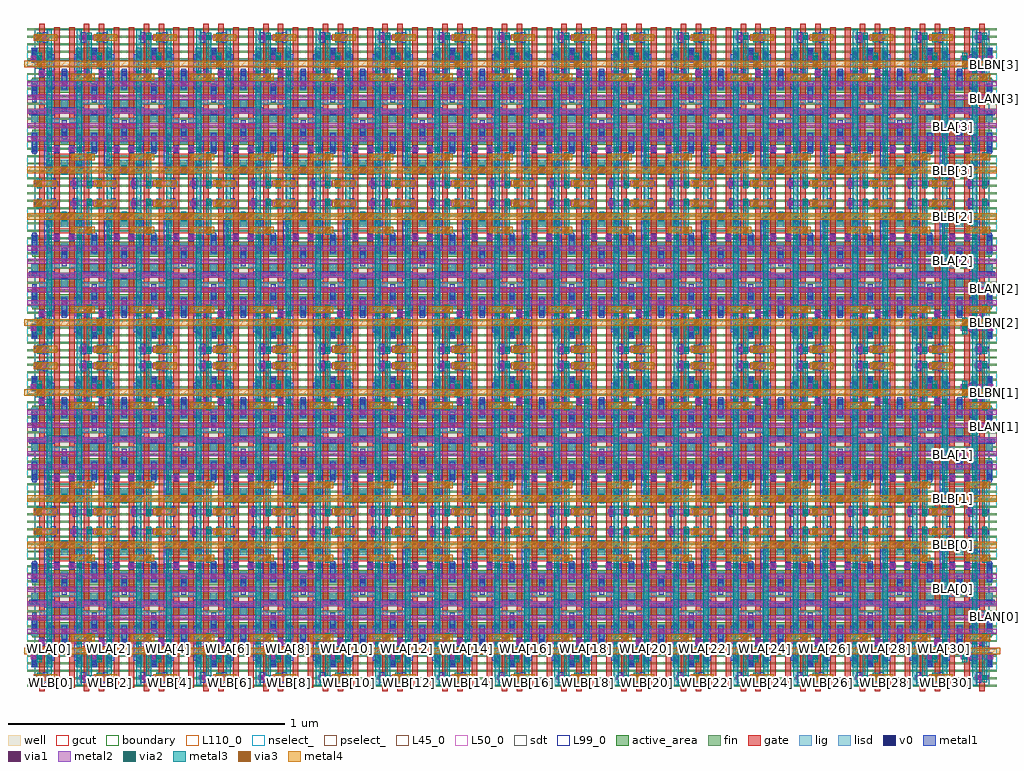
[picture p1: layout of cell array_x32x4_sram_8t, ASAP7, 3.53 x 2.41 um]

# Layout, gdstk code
from math import pi, radians
import gdstk
lib = gdstk.Library(unit=1e-6, precision=2.5e-10)
def R(c, l, rs):  # rectangles x0, y0, x1, y1
    for r in rs: c.add(gdstk.rectangle(r[:2], r[2:], *l))
def A(c, l, x, y, w, h, nx, ny, dx, dy):  # array of equal rectangles
    R(c, l, [(x+i*dx, y+j*dy, x+i*dx+w, y+j*dy+h) for i in range(nx) for j in range(ny)])
def P(c, l, *ps):  # polygons
    for p in ps: c.add(gdstk.Polygon(p, *l))
well = (1, 0)
fin = (2, 0)
gate = (7, 0)
gcut = (10, 0)
active_area = (11, 0)
nselect_ = (12, 0)
pselect_ = (13, 0)
lig = (16, 0)
lisd = (17, 0)
v0 = (18, 0)
metal1 = (19, 0)
metal2 = (20, 0)
via1 = (21, 0)
via2 = (25, 0)
metal3 = (30, 0)
via3 = (35, 0)
metal4 = (40, 0)
L45_0 = (45, 0)
L50_0 = (50, 0)
sdt = (88, 0)
L99_0 = (99, 0)
boundary = (100, 0)
L110_0 = (110, 0)

sram_cell_8t = lib.new_cell('sram_cell_8t')
R(sram_cell_8t, well, [(-0.027,0.081,0.135,0.189)])
A(sram_cell_8t, fin, -0.027, -0.1655, 0.162, 0.007, 1, 23, 0, 0.027)
R(sram_cell_8t, gate, [(0.017,-0.181,0.037,0.439), (0.071,-0.169,0.091,0.451)])
R(sram_cell_8t, gcut, [(0,-0.0355,0.054,-0.0185), (0.054,-0.0085,0.108,0.0085), (0,0.0715,0.054,0.0885), (0.054,0.1815,0.108,0.1985), (0,0.2615,0.054,0.2785), (0.054,0.2885,0.108,0.3055)])
R(sram_cell_8t, active_area, [(-0.008,-0.0945,0.062,-0.0405), (-0.008,0.0135,0.116,0.0675), (0.046,0.0945,0.116,0.1215), (-0.008,0.1485,0.062,0.1755), (-0.008,0.2025,0.116,0.2565), (0.046,0.3105,0.116,0.3645)])
R(sram_cell_8t, nselect_, [(-0.027,-0.108,0.135,-0.027), (-0.027,0,0.135,0.081), (-0.027,0.189,0.135,0.27), (-0.027,0.297,0.135,0.378)])
R(sram_cell_8t, pselect_, [(-0.027,0.081,0.135,0.189)])
R(sram_cell_8t, lig, [(0.017,-0.14,0.054,-0.124), (0.016,-0.0115,0.037,0.0045), (0.017,0.0935,0.054,0.1095), (0.054,0.1605,0.091,0.1765), (0.071,0.2655,0.092,0.2815), (0.054,0.388,0.086,0.404)])
R(sram_cell_8t, lisd, [(-0.012,-0.0945,0.012,-0.0405), (0.042,-0.0945,0.066,-0.0405), (0.096,-0.013,0.12,0.059), (-0.012,0.019,0.012,0.073), (0.042,0.0235,0.066,0.118), (0.096,0.0945,0.12,0.1385), (-0.012,0.1315,0.012,0.1755), (0.042,0.152,0.066,0.2465), (0.096,0.197,0.12,0.251), (-0.012,0.2105,0.012,0.283), (0.042,0.3105,0.066,0.3645), (0.096,0.3105,0.12,0.3645)])
R(sram_cell_8t, v0, [(0.0305,-0.141,0.0485,-0.123), (-0.009,-0.0885,0.009,-0.0705), (0.045,-0.0765,0.063,-0.0585), (0.018,-0.0125,0.036,0.0055), (0.099,-0.009,0.117,0.009), (-0.009,0.043,0.009,0.061), (0.045,0.043,0.063,0.061), (0.099,0.1205,0.117,0.1385), (-0.009,0.1315,0.009,0.1495), (0.099,0.209,0.117,0.227), (0.045,0.2195,0.063,0.2375), (-0.009,0.261,0.009,0.279), (0.072,0.2645,0.09,0.2825), (0.045,0.3285,0.063,0.3465), (0.099,0.339,0.117,0.357), (0.0595,0.387,0.0775,0.405)])
R(sram_cell_8t, metal1, [(0.0305,-0.151,0.0485,-0.113), (-0.009,-0.0935,0.009,-0.043), (0.099,-0.019,0.117,0.055), (0.018,-0.017,0.036,0.011), (-0.009,0.0345,0.009,0.1025), (0.099,0.1675,0.117,0.2355), (-0.009,0.215,0.009,0.289), (0.072,0.2585,0.09,0.2865), (0.099,0.334,0.117,0.362), (0.0595,0.377,0.0775,0.415)])
P(sram_cell_8t, metal1, [(0.127,0.1385),(0.0725,0.1385),(0.0725,0.1495),(-0.019,0.1495),(-0.019,0.1315),(0.0355,0.1315),(0.0355,0.1205),(0.127,0.1205)],
  [(0.045,-0.0815),(0.063,-0.0815),(0.063,-0.0715),(0.072,-0.0715),(0.072,0.056),(0.063,0.056),(0.063,0.066),(0.045,0.066),(0.045,0.038),(0.054,0.038),(0.054,-0.0535),(0.045,-0.0535)],
  [(0.045,0.2155),(0.063,0.2155),(0.063,0.2435),(0.054,0.2435),(0.054,0.3235),(0.063,0.3235),(0.063,0.3515),(0.045,0.3515),(0.045,0.3415),(0.036,0.3415),(0.036,0.2255),(0.045,0.2255)])
A(sram_cell_8t, metal2, -0.027, 0.027, 0.162, 0.018, 1, 3, 0, 0.099)
R(sram_cell_8t, metal2, [(0.004,-0.141,0.0535,-0.123), (-0.014,-0.066,0.032,-0.048), (0.016,-0.012,0.072,0.006), (-0.026,0.0745,0.136,0.0925), (-0.026,0.1775,0.136,0.1955), (0.04,0.2635,0.092,0.2815), (0.093,0.339,0.123,0.357), (0.004,0.387,0.0825,0.405)])
R(sram_cell_8t, via1, [(0.0305,-0.141,0.0485,-0.123), (-0.009,-0.066,0.009,-0.048), (0.018,-0.012,0.036,0.006), (0.099,0.027,0.117,0.045), (-0.009,0.0745,0.009,0.0925), (0.045,0.126,0.063,0.144), (0.099,0.1775,0.117,0.1955), (-0.009,0.225,0.009,0.243), (0.072,0.2635,0.09,0.2815), (0.099,0.339,0.117,0.357), (0.0595,0.387,0.0775,0.405)])
R(sram_cell_8t, via2, [(0.009,-0.141,0.027,-0.123), (0.009,-0.066,0.027,-0.048), (0.045,-0.012,0.063,0.006), (0.045,0.2635,0.063,0.2815), (0.099,0.339,0.117,0.357), (0.009,0.387,0.027,0.405)])
R(sram_cell_8t, metal3, [(0.045,-0.162,0.063,0.432), (0.009,-0.149,0.027,-0.115), (0.009,-0.077,0.027,-0.019), (0.099,0.331,0.117,0.365), (0.009,0.379,0.027,0.413)])
R(sram_cell_8t, via3, [(0.009,-0.144,0.027,-0.12), (0.009,-0.048,0.027,-0.024), (0.099,0.336,0.117,0.36), (0.009,0.384,0.027,0.408)])
R(sram_cell_8t, metal4, [(-0.002,-0.144,0.083,-0.12), (-0.038,-0.048,0.135,-0.024), (-0.027,0.336,0.135,0.36), (-0.002,0.384,0.083,0.408)])
R(sram_cell_8t, L45_0, [(0.048,-0.144,0.072,-0.12), (0.048,0.384,0.072,0.408)])
R(sram_cell_8t, L50_0, [(0.048,-0.162,0.072,0.432)])
R(sram_cell_8t, sdt, [(-0.012,-0.0945,0.012,-0.0405), (0.042,-0.0945,0.066,-0.0405), (0.096,0.005,0.12,0.059), (-0.012,0.019,0.012,0.073), (0.042,0.0235,0.066,0.0775), (0.042,0.091,0.066,0.118), (0.096,0.0945,0.12,0.1215), (-0.012,0.1485,0.012,0.1755), (0.042,0.152,0.066,0.179), (0.042,0.1925,0.066,0.2465), (0.096,0.197,0.12,0.251), (-0.012,0.2105,0.012,0.2645), (0.042,0.3105,0.066,0.3645), (0.096,0.3105,0.12,0.3645)])
R(sram_cell_8t, L99_0, [(0,-0.162,0.108,0.432)])
R(sram_cell_8t, boundary, [(0,-0.162,0.108,0.432)])
R(sram_cell_8t, L110_0, [(0,-0.162,0.108,0.432)])
sram_cell_8t.add(gdstk.Label('vss!', (0.081,0.235), layer=20, texttype=251))
sram_cell_8t.add(gdstk.Label('vss!', (0.074,0.036), layer=20, texttype=251))
sram_cell_8t.add(gdstk.Label('vdd!', (0.0795,0.1395), layer=20, texttype=251))
sram_cell_8t.add(gdstk.Label('BLA', (0.13,0.1885), layer=20, texttype=251))
sram_cell_8t.add(gdstk.Label('BLAN', (-0.018,0.088), layer=20, texttype=251))
sram_cell_8t.add(gdstk.Label('WLA', (0.054,-0.028), layer=30, texttype=251))
sram_cell_8t.add(gdstk.Label('vdd!', (0.048,0.148), layer=1, texttype=251))
sram_cell_8t.add(gdstk.Label('vss!', (0.048,0.2245), layer=3, texttype=251))
sram_cell_8t.add(gdstk.Label('vss!', (0.048,0.044), layer=3, texttype=251))
sram_cell_8t.add(gdstk.Label('BLBN', (-0.018,-0.036), layer=40, texttype=251))
sram_cell_8t.add(gdstk.Label('BLB', (0.13,0.348), layer=40, texttype=251))
sram_cell_8t.add(gdstk.Label('WLB', (0.06,-0.15), layer=50, texttype=251))
sram_cell_8t.add(gdstk.Label('vss!', (0.048,-0.0675), layer=3, texttype=251))
sram_cell_8t.add(gdstk.Label('vss!', (0.048,0.3375), layer=3, texttype=251))

sram_cell_8t_b = lib.new_cell('sram_cell_8t_b')
R(sram_cell_8t_b, well, [(-0.027,0.081,0.135,0.189)])
A(sram_cell_8t_b, fin, -0.027, -0.1655, 0.162, 0.007, 1, 23, 0, 0.027)
R(sram_cell_8t_b, gate, [(0.017,-0.181,0.037,0.439), (0.071,-0.169,0.091,0.451)])
R(sram_cell_8t_b, gcut, [(0,-0.0355,0.054,-0.0185), (0.054,-0.0085,0.108,0.0085), (0,0.0715,0.054,0.0885), (0.054,0.1815,0.108,0.1985), (0,0.2615,0.054,0.2785), (0.054,0.2885,0.108,0.3055)])
R(sram_cell_8t_b, active_area, [(-0.008,-0.0945,0.062,-0.0405), (-0.008,0.0135,0.116,0.0675), (0.046,0.0945,0.116,0.1215), (-0.008,0.1485,0.062,0.1755), (-0.008,0.2025,0.116,0.2565), (0.046,0.3105,0.116,0.3645)])
R(sram_cell_8t_b, nselect_, [(-0.027,-0.108,0.135,-0.027), (-0.027,0,0.135,0.081), (-0.027,0.189,0.135,0.27), (-0.027,0.297,0.135,0.378)])
R(sram_cell_8t_b, pselect_, [(-0.027,0.081,0.135,0.189)])
R(sram_cell_8t_b, lig, [(0.017,-0.14,0.054,-0.124), (0.016,-0.0115,0.037,0.0045), (0.017,0.0935,0.054,0.1095), (0.054,0.1605,0.091,0.1765), (0.071,0.2655,0.092,0.2815), (0.054,0.388,0.086,0.404)])
R(sram_cell_8t_b, lisd, [(-0.012,-0.0945,0.012,-0.0405), (0.042,-0.0945,0.066,-0.0405), (0.096,-0.013,0.12,0.059), (-0.012,0.019,0.012,0.073), (0.042,0.0235,0.066,0.118), (0.096,0.0945,0.12,0.1385), (-0.012,0.1315,0.012,0.1755), (0.042,0.152,0.066,0.2465), (0.096,0.197,0.12,0.251), (-0.012,0.2105,0.012,0.283), (0.042,0.3105,0.066,0.3645), (0.096,0.3105,0.12,0.3645)])
R(sram_cell_8t_b, v0, [(0.0305,-0.141,0.0485,-0.123), (-0.009,-0.0885,0.009,-0.0705), (0.045,-0.0765,0.063,-0.0585), (0.018,-0.0125,0.036,0.0055), (0.099,-0.009,0.117,0.009), (-0.009,0.043,0.009,0.061), (0.045,0.043,0.063,0.061), (0.099,0.1205,0.117,0.1385), (-0.009,0.1315,0.009,0.1495), (0.099,0.209,0.117,0.227), (0.045,0.2195,0.063,0.2375), (-0.009,0.261,0.009,0.279), (0.072,0.2645,0.09,0.2825), (0.045,0.3285,0.063,0.3465), (0.099,0.339,0.117,0.357), (0.0595,0.387,0.0775,0.405)])
R(sram_cell_8t_b, metal1, [(0.0305,-0.151,0.0485,-0.113), (-0.009,-0.0935,0.009,-0.043), (0.099,-0.019,0.117,0.055), (0.018,-0.017,0.036,0.011), (-0.009,0.0345,0.009,0.1025), (0.099,0.1675,0.117,0.2355), (-0.009,0.215,0.009,0.289), (0.072,0.2585,0.09,0.2865), (0.099,0.334,0.117,0.362), (0.0595,0.377,0.0775,0.415)])
P(sram_cell_8t_b, metal1, [(0.127,0.1385),(0.0725,0.1385),(0.0725,0.1495),(-0.019,0.1495),(-0.019,0.1315),(0.0355,0.1315),(0.0355,0.1205),(0.127,0.1205)],
  [(0.045,-0.0815),(0.063,-0.0815),(0.063,-0.0715),(0.072,-0.0715),(0.072,0.056),(0.063,0.056),(0.063,0.066),(0.045,0.066),(0.045,0.038),(0.054,0.038),(0.054,-0.0535),(0.045,-0.0535)],
  [(0.045,0.2155),(0.063,0.2155),(0.063,0.2435),(0.054,0.2435),(0.054,0.3235),(0.063,0.3235),(0.063,0.3515),(0.045,0.3515),(0.045,0.3415),(0.036,0.3415),(0.036,0.2255),(0.045,0.2255)])
A(sram_cell_8t_b, metal2, -0.027, 0.027, 0.162, 0.018, 1, 3, 0, 0.099)
R(sram_cell_8t_b, metal2, [(0.004,-0.141,0.0535,-0.123), (-0.032,-0.066,0.014,-0.048), (0.016,-0.012,0.072,0.006), (-0.026,0.0745,0.136,0.0925), (-0.026,0.1775,0.136,0.1955), (0.04,0.2635,0.092,0.2815), (0.093,0.339,0.123,0.357), (0.004,0.387,0.0825,0.405)])
R(sram_cell_8t_b, via1, [(0.0305,-0.141,0.0485,-0.123), (-0.009,-0.066,0.009,-0.048), (0.018,-0.012,0.036,0.006), (0.099,0.027,0.117,0.045), (-0.009,0.0745,0.009,0.0925), (0.045,0.126,0.063,0.144), (0.099,0.1775,0.117,0.1955), (-0.009,0.225,0.009,0.243), (0.072,0.2635,0.09,0.2815), (0.099,0.339,0.117,0.357), (0.0595,0.387,0.0775,0.405)])
R(sram_cell_8t_b, via2, [(0.009,-0.141,0.027,-0.123), (-0.027,-0.066,-0.009,-0.048), (0.045,-0.012,0.063,0.006), (0.045,0.2635,0.063,0.2815), (0.099,0.339,0.117,0.357), (0.009,0.387,0.027,0.405)])
R(sram_cell_8t_b, metal3, [(0.045,-0.162,0.063,0.432), (0.009,-0.149,0.027,0.029), (-0.027,-0.077,-0.009,-0.019), (0.009,0.283,0.027,0.413), (0.099,0.331,0.117,0.365)])
R(sram_cell_8t_b, via3, [(-0.027,-0.048,-0.009,-0.024), (0.009,0,0.027,0.024), (0.009,0.288,0.027,0.312), (0.099,0.336,0.117,0.36)])
R(sram_cell_8t_b, metal4, [(-0.038,-0.048,0.135,-0.024), (-0.002,0,0.083,0.024), (-0.002,0.288,0.083,0.312), (-0.027,0.336,0.135,0.36)])
R(sram_cell_8t_b, L45_0, [(0.048,0,0.072,0.024), (0.048,0.288,0.072,0.312)])
R(sram_cell_8t_b, L50_0, [(0.048,-0.162,0.072,0.432)])
R(sram_cell_8t_b, sdt, [(-0.012,-0.0945,0.012,-0.0405), (0.042,-0.0945,0.066,-0.0405), (0.096,0.005,0.12,0.059), (-0.012,0.019,0.012,0.073), (0.042,0.0235,0.066,0.0775), (0.042,0.091,0.066,0.118), (0.096,0.0945,0.12,0.1215), (-0.012,0.1485,0.012,0.1755), (0.042,0.152,0.066,0.179), (0.042,0.1925,0.066,0.2465), (0.096,0.197,0.12,0.251), (-0.012,0.2105,0.012,0.2645), (0.042,0.3105,0.066,0.3645), (0.096,0.3105,0.12,0.3645)])
R(sram_cell_8t_b, L99_0, [(0,-0.162,0.108,0.432)])
R(sram_cell_8t_b, boundary, [(0,-0.162,0.108,0.432)])
R(sram_cell_8t_b, L110_0, [(0,-0.162,0.108,0.432)])
sram_cell_8t_b.add(gdstk.Label('vss!', (0.081,0.235), layer=20, texttype=251))
sram_cell_8t_b.add(gdstk.Label('vss!', (0.074,0.036), layer=20, texttype=251))
sram_cell_8t_b.add(gdstk.Label('vdd!', (0.0795,0.1395), layer=20, texttype=251))
sram_cell_8t_b.add(gdstk.Label('BLA', (0.13,0.1885), layer=20, texttype=251))
sram_cell_8t_b.add(gdstk.Label('BLAN', (-0.018,0.088), layer=20, texttype=251))
sram_cell_8t_b.add(gdstk.Label('WLA', (0.054,-0.028), layer=30, texttype=251))
sram_cell_8t_b.add(gdstk.Label('vdd!', (0.048,0.148), layer=1, texttype=251))
sram_cell_8t_b.add(gdstk.Label('vss!', (0.048,0.2245), layer=3, texttype=251))
sram_cell_8t_b.add(gdstk.Label('vss!', (0.048,0.044), layer=3, texttype=251))
sram_cell_8t_b.add(gdstk.Label('BLBN', (-0.018,-0.036), layer=40, texttype=251))
sram_cell_8t_b.add(gdstk.Label('BLB', (0.13,0.348), layer=40, texttype=251))
sram_cell_8t_b.add(gdstk.Label('WLB', (0.06,-0.15), layer=50, texttype=251))
sram_cell_8t_b.add(gdstk.Label('vss!', (0.048,-0.0675), layer=3, texttype=251))
sram_cell_8t_b.add(gdstk.Label('vss!', (0.048,0.3375), layer=3, texttype=251))

sram_cell_8t_b_end = lib.new_cell('sram_cell_8t_b_end')
R(sram_cell_8t_b_end, well, [(-0.027,0.081,0.135,0.189)])
A(sram_cell_8t_b_end, fin, -0.027, -0.1655, 0.162, 0.007, 1, 23, 0, 0.027)
R(sram_cell_8t_b_end, gate, [(0.017,-0.181,0.037,0.439), (0.071,-0.169,0.091,0.451)])
R(sram_cell_8t_b_end, gcut, [(0,-0.0355,0.054,-0.0185), (0.054,-0.0085,0.108,0.0085), (0,0.0715,0.054,0.0885), (0.054,0.1815,0.108,0.1985), (0,0.2615,0.054,0.2785), (0.054,0.2885,0.108,0.3055)])
R(sram_cell_8t_b_end, active_area, [(-0.008,-0.0945,0.062,-0.0405), (-0.008,0.0135,0.116,0.0675), (0.046,0.0945,0.116,0.1215), (-0.008,0.1485,0.062,0.1755), (-0.008,0.2025,0.116,0.2565), (0.046,0.3105,0.116,0.3645)])
R(sram_cell_8t_b_end, nselect_, [(-0.027,-0.108,0.135,-0.027), (-0.027,0,0.135,0.081), (-0.027,0.189,0.135,0.27), (-0.027,0.297,0.135,0.378)])
R(sram_cell_8t_b_end, pselect_, [(-0.027,0.081,0.135,0.189)])
R(sram_cell_8t_b_end, lig, [(0.017,-0.14,0.054,-0.124), (0.016,-0.0115,0.037,0.0045), (0.017,0.0935,0.054,0.1095), (0.054,0.1605,0.091,0.1765), (0.071,0.2655,0.092,0.2815), (0.054,0.388,0.086,0.404)])
R(sram_cell_8t_b_end, lisd, [(-0.012,-0.0945,0.012,-0.0405), (0.042,-0.0945,0.066,-0.0405), (0.096,-0.013,0.12,0.059), (-0.012,0.019,0.012,0.073), (0.042,0.0235,0.066,0.118), (0.096,0.0945,0.12,0.1385), (-0.012,0.1315,0.012,0.1755), (0.042,0.152,0.066,0.2465), (0.096,0.197,0.12,0.251), (-0.012,0.2105,0.012,0.283), (0.042,0.3105,0.066,0.3645), (0.096,0.3105,0.12,0.3645)])
R(sram_cell_8t_b_end, v0, [(0.0305,-0.141,0.0485,-0.123), (-0.009,-0.0885,0.009,-0.0705), (0.045,-0.0765,0.063,-0.0585), (0.018,-0.0125,0.036,0.0055), (0.099,-0.009,0.117,0.009), (-0.009,0.043,0.009,0.061), (0.045,0.043,0.063,0.061), (0.099,0.1205,0.117,0.1385), (-0.009,0.1315,0.009,0.1495), (0.099,0.209,0.117,0.227), (0.045,0.2195,0.063,0.2375), (-0.009,0.261,0.009,0.279), (0.072,0.2645,0.09,0.2825), (0.045,0.3285,0.063,0.3465), (0.099,0.339,0.117,0.357), (0.0595,0.387,0.0775,0.405)])
R(sram_cell_8t_b_end, metal1, [(0.0305,-0.151,0.0485,-0.113), (-0.009,-0.0935,0.009,-0.043), (0.099,-0.019,0.117,0.055), (0.018,-0.017,0.036,0.011), (-0.009,0.0345,0.009,0.1025), (0.099,0.1675,0.117,0.2355), (-0.009,0.215,0.009,0.289), (0.072,0.2585,0.09,0.2865), (0.099,0.334,0.117,0.362), (0.0595,0.377,0.0775,0.415)])
P(sram_cell_8t_b_end, metal1, [(0.127,0.1385),(0.0725,0.1385),(0.0725,0.1495),(-0.019,0.1495),(-0.019,0.1315),(0.0355,0.1315),(0.0355,0.1205),(0.127,0.1205)],
  [(0.045,-0.0815),(0.063,-0.0815),(0.063,-0.0715),(0.072,-0.0715),(0.072,0.056),(0.063,0.056),(0.063,0.066),(0.045,0.066),(0.045,0.038),(0.054,0.038),(0.054,-0.0535),(0.045,-0.0535)],
  [(0.045,0.2155),(0.063,0.2155),(0.063,0.2435),(0.054,0.2435),(0.054,0.3235),(0.063,0.3235),(0.063,0.3515),(0.045,0.3515),(0.045,0.3415),(0.036,0.3415),(0.036,0.2255),(0.045,0.2255)])
A(sram_cell_8t_b_end, metal2, -0.027, 0.027, 0.162, 0.018, 1, 3, 0, 0.099)
R(sram_cell_8t_b_end, metal2, [(0.004,-0.141,0.0535,-0.123), (-0.014,-0.066,0.104,-0.048), (0.016,-0.012,0.072,0.006), (-0.026,0.0745,0.136,0.0925), (-0.026,0.1775,0.136,0.1955), (0.04,0.2635,0.092,0.2815), (0.093,0.339,0.123,0.357), (0.004,0.387,0.0825,0.405)])
R(sram_cell_8t_b_end, via1, [(0.0305,-0.141,0.0485,-0.123), (-0.009,-0.066,0.009,-0.048), (0.018,-0.012,0.036,0.006), (0.099,0.027,0.117,0.045), (-0.009,0.0745,0.009,0.0925), (0.045,0.126,0.063,0.144), (0.099,0.1775,0.117,0.1955), (-0.009,0.225,0.009,0.243), (0.072,0.2635,0.09,0.2815), (0.099,0.339,0.117,0.357), (0.0595,0.387,0.0775,0.405)])
R(sram_cell_8t_b_end, via2, [(0.009,-0.141,0.027,-0.123), (0.081,-0.066,0.099,-0.048), (0.045,-0.012,0.063,0.006), (0.045,0.2635,0.063,0.2815), (0.099,0.339,0.117,0.357), (0.009,0.387,0.027,0.405)])
R(sram_cell_8t_b_end, metal3, [(0.045,-0.162,0.063,0.432), (0.009,-0.149,0.027,0.029), (0.081,-0.077,0.099,-0.019), (0.009,0.283,0.027,0.413), (0.099,0.331,0.117,0.365)])
R(sram_cell_8t_b_end, via3, [(0.081,-0.048,0.099,-0.024), (0.009,0,0.027,0.024), (0.009,0.288,0.027,0.312), (0.099,0.336,0.117,0.36)])
R(sram_cell_8t_b_end, metal4, [(-0.038,-0.048,0.135,-0.024), (-0.002,0,0.083,0.024), (-0.002,0.288,0.083,0.312), (-0.027,0.336,0.135,0.36)])
R(sram_cell_8t_b_end, L45_0, [(0.048,0,0.072,0.024), (0.048,0.288,0.072,0.312)])
R(sram_cell_8t_b_end, L50_0, [(0.048,-0.162,0.072,0.432)])
R(sram_cell_8t_b_end, sdt, [(-0.012,-0.0945,0.012,-0.0405), (0.042,-0.0945,0.066,-0.0405), (0.096,0.005,0.12,0.059), (-0.012,0.019,0.012,0.073), (0.042,0.0235,0.066,0.0775), (0.042,0.091,0.066,0.118), (0.096,0.0945,0.12,0.1215), (-0.012,0.1485,0.012,0.1755), (0.042,0.152,0.066,0.179), (0.042,0.1925,0.066,0.2465), (0.096,0.197,0.12,0.251), (-0.012,0.2105,0.012,0.2645), (0.042,0.3105,0.066,0.3645), (0.096,0.3105,0.12,0.3645)])
R(sram_cell_8t_b_end, L99_0, [(0,-0.162,0.108,0.432)])
R(sram_cell_8t_b_end, boundary, [(0,-0.162,0.108,0.432)])
R(sram_cell_8t_b_end, L110_0, [(0,-0.162,0.108,0.432)])
sram_cell_8t_b_end.add(gdstk.Label('vss!', (0.081,0.235), layer=20, texttype=251))
sram_cell_8t_b_end.add(gdstk.Label('vss!', (0.074,0.036), layer=20, texttype=251))
sram_cell_8t_b_end.add(gdstk.Label('vdd!', (0.0795,0.1395), layer=20, texttype=251))
sram_cell_8t_b_end.add(gdstk.Label('BLA', (0.13,0.1885), layer=20, texttype=251))
sram_cell_8t_b_end.add(gdstk.Label('BLAN', (-0.018,0.088), layer=20, texttype=251))
sram_cell_8t_b_end.add(gdstk.Label('WLA', (0.054,-0.028), layer=30, texttype=251))
sram_cell_8t_b_end.add(gdstk.Label('vdd!', (0.048,0.148), layer=1, texttype=251))
sram_cell_8t_b_end.add(gdstk.Label('vss!', (0.048,0.2245), layer=3, texttype=251))
sram_cell_8t_b_end.add(gdstk.Label('vss!', (0.048,0.044), layer=3, texttype=251))
sram_cell_8t_b_end.add(gdstk.Label('BLBN', (-0.018,-0.036), layer=40, texttype=251))
sram_cell_8t_b_end.add(gdstk.Label('BLB', (0.13,0.348), layer=40, texttype=251))
sram_cell_8t_b_end.add(gdstk.Label('WLB', (0.06,-0.15), layer=50, texttype=251))
sram_cell_8t_b_end.add(gdstk.Label('vss!', (0.048,-0.0675), layer=3, texttype=251))
sram_cell_8t_b_end.add(gdstk.Label('vss!', (0.048,0.3375), layer=3, texttype=251))

sramcol_x32_sram_8t = lib.new_cell('sramcol_x32_sram_8t')
R(sramcol_x32_sram_8t, boundary, [(0,0,3.456,0.594)])
sramcol_x32_sram_8t.add(gdstk.Reference(sram_cell_8t, (0,0.162)))
sramcol_x32_sram_8t.add(gdstk.Reference(sram_cell_8t_b, (0.216,0.162), rotation=pi, x_reflection=True))
sramcol_x32_sram_8t.add(gdstk.Reference(sram_cell_8t, (0.216,0.162)))
sramcol_x32_sram_8t.add(gdstk.Reference(sram_cell_8t_b, (0.432,0.162), rotation=pi, x_reflection=True))
sramcol_x32_sram_8t.add(gdstk.Reference(sram_cell_8t, (0.432,0.162)))
sramcol_x32_sram_8t.add(gdstk.Reference(sram_cell_8t_b, (0.648,0.162), rotation=pi, x_reflection=True))
sramcol_x32_sram_8t.add(gdstk.Reference(sram_cell_8t, (0.648,0.162)))
sramcol_x32_sram_8t.add(gdstk.Reference(sram_cell_8t_b, (0.864,0.162), rotation=pi, x_reflection=True))
sramcol_x32_sram_8t.add(gdstk.Reference(sram_cell_8t, (0.864,0.162)))
sramcol_x32_sram_8t.add(gdstk.Reference(sram_cell_8t_b, (1.08,0.162), rotation=pi, x_reflection=True))
sramcol_x32_sram_8t.add(gdstk.Reference(sram_cell_8t, (1.08,0.162)))
sramcol_x32_sram_8t.add(gdstk.Reference(sram_cell_8t_b, (1.296,0.162), rotation=pi, x_reflection=True))
sramcol_x32_sram_8t.add(gdstk.Reference(sram_cell_8t, (1.296,0.162)))
sramcol_x32_sram_8t.add(gdstk.Reference(sram_cell_8t_b, (1.512,0.162), rotation=pi, x_reflection=True))
sramcol_x32_sram_8t.add(gdstk.Reference(sram_cell_8t, (1.512,0.162)))
sramcol_x32_sram_8t.add(gdstk.Reference(sram_cell_8t_b, (1.728,0.162), rotation=pi, x_reflection=True))
sramcol_x32_sram_8t.add(gdstk.Reference(sram_cell_8t, (1.728,0.162)))
sramcol_x32_sram_8t.add(gdstk.Reference(sram_cell_8t_b, (1.944,0.162), rotation=pi, x_reflection=True))
sramcol_x32_sram_8t.add(gdstk.Reference(sram_cell_8t, (1.944,0.162)))
sramcol_x32_sram_8t.add(gdstk.Reference(sram_cell_8t_b, (2.16,0.162), rotation=pi, x_reflection=True))
sramcol_x32_sram_8t.add(gdstk.Reference(sram_cell_8t, (2.16,0.162)))
sramcol_x32_sram_8t.add(gdstk.Reference(sram_cell_8t_b, (2.376,0.162), rotation=pi, x_reflection=True))
sramcol_x32_sram_8t.add(gdstk.Reference(sram_cell_8t, (2.376,0.162)))
sramcol_x32_sram_8t.add(gdstk.Reference(sram_cell_8t_b, (2.592,0.162), rotation=pi, x_reflection=True))
sramcol_x32_sram_8t.add(gdstk.Reference(sram_cell_8t, (2.592,0.162)))
sramcol_x32_sram_8t.add(gdstk.Reference(sram_cell_8t_b, (2.808,0.162), rotation=pi, x_reflection=True))
sramcol_x32_sram_8t.add(gdstk.Reference(sram_cell_8t, (2.808,0.162)))
sramcol_x32_sram_8t.add(gdstk.Reference(sram_cell_8t_b, (3.024,0.162), rotation=pi, x_reflection=True))
sramcol_x32_sram_8t.add(gdstk.Reference(sram_cell_8t, (3.024,0.162)))
sramcol_x32_sram_8t.add(gdstk.Reference(sram_cell_8t_b, (3.24,0.162), rotation=pi, x_reflection=True))
sramcol_x32_sram_8t.add(gdstk.Reference(sram_cell_8t, (3.24,0.162)))
sramcol_x32_sram_8t.add(gdstk.Reference(sram_cell_8t_b_end, (3.456,0.162), rotation=pi, x_reflection=True))
sramcol_x32_sram_8t.add(gdstk.Label('WLA[0]', (0.054,0.134), layer=30, texttype=251))
sramcol_x32_sram_8t.add(gdstk.Label('WLB[0]', (0.06,0.012), layer=50, texttype=251))
sramcol_x32_sram_8t.add(gdstk.Label('WLA[1]', (0.162,0.134), layer=30, texttype=251))
sramcol_x32_sram_8t.add(gdstk.Label('WLB[1]', (0.156,0.012), layer=50, texttype=251))
sramcol_x32_sram_8t.add(gdstk.Label('WLA[2]', (0.27,0.134), layer=30, texttype=251))
sramcol_x32_sram_8t.add(gdstk.Label('WLB[2]', (0.276,0.012), layer=50, texttype=251))
sramcol_x32_sram_8t.add(gdstk.Label('WLA[3]', (0.378,0.134), layer=30, texttype=251))
sramcol_x32_sram_8t.add(gdstk.Label('WLB[3]', (0.372,0.012), layer=50, texttype=251))
sramcol_x32_sram_8t.add(gdstk.Label('WLA[4]', (0.486,0.134), layer=30, texttype=251))
sramcol_x32_sram_8t.add(gdstk.Label('WLB[4]', (0.492,0.012), layer=50, texttype=251))
sramcol_x32_sram_8t.add(gdstk.Label('WLA[5]', (0.594,0.134), layer=30, texttype=251))
sramcol_x32_sram_8t.add(gdstk.Label('WLB[5]', (0.588,0.012), layer=50, texttype=251))
sramcol_x32_sram_8t.add(gdstk.Label('WLA[6]', (0.702,0.134), layer=30, texttype=251))
sramcol_x32_sram_8t.add(gdstk.Label('WLB[6]', (0.708,0.012), layer=50, texttype=251))
sramcol_x32_sram_8t.add(gdstk.Label('WLA[7]', (0.81,0.134), layer=30, texttype=251))
sramcol_x32_sram_8t.add(gdstk.Label('WLB[7]', (0.804,0.012), layer=50, texttype=251))
sramcol_x32_sram_8t.add(gdstk.Label('WLA[8]', (0.918,0.134), layer=30, texttype=251))
sramcol_x32_sram_8t.add(gdstk.Label('WLB[8]', (0.924,0.012), layer=50, texttype=251))
sramcol_x32_sram_8t.add(gdstk.Label('WLA[9]', (1.026,0.134), layer=30, texttype=251))
sramcol_x32_sram_8t.add(gdstk.Label('WLB[9]', (1.02,0.012), layer=50, texttype=251))
sramcol_x32_sram_8t.add(gdstk.Label('WLA[10]', (1.134,0.134), layer=30, texttype=251))
sramcol_x32_sram_8t.add(gdstk.Label('WLB[10]', (1.14,0.012), layer=50, texttype=251))
sramcol_x32_sram_8t.add(gdstk.Label('WLA[11]', (1.242,0.134), layer=30, texttype=251))
sramcol_x32_sram_8t.add(gdstk.Label('WLB[11]', (1.236,0.012), layer=50, texttype=251))
sramcol_x32_sram_8t.add(gdstk.Label('WLA[12]', (1.35,0.134), layer=30, texttype=251))
sramcol_x32_sram_8t.add(gdstk.Label('WLB[12]', (1.356,0.012), layer=50, texttype=251))
sramcol_x32_sram_8t.add(gdstk.Label('WLA[13]', (1.458,0.134), layer=30, texttype=251))
sramcol_x32_sram_8t.add(gdstk.Label('WLB[13]', (1.452,0.012), layer=50, texttype=251))
sramcol_x32_sram_8t.add(gdstk.Label('WLA[14]', (1.566,0.134), layer=30, texttype=251))
sramcol_x32_sram_8t.add(gdstk.Label('WLB[14]', (1.572,0.012), layer=50, texttype=251))
sramcol_x32_sram_8t.add(gdstk.Label('WLA[15]', (1.674,0.134), layer=30, texttype=251))
sramcol_x32_sram_8t.add(gdstk.Label('WLB[15]', (1.668,0.012), layer=50, texttype=251))
sramcol_x32_sram_8t.add(gdstk.Label('WLA[16]', (1.782,0.134), layer=30, texttype=251))
sramcol_x32_sram_8t.add(gdstk.Label('WLB[16]', (1.788,0.012), layer=50, texttype=251))
sramcol_x32_sram_8t.add(gdstk.Label('WLA[17]', (1.89,0.134), layer=30, texttype=251))
sramcol_x32_sram_8t.add(gdstk.Label('WLB[17]', (1.884,0.012), layer=50, texttype=251))
sramcol_x32_sram_8t.add(gdstk.Label('WLA[18]', (1.998,0.134), layer=30, texttype=251))
sramcol_x32_sram_8t.add(gdstk.Label('WLB[18]', (2.004,0.012), layer=50, texttype=251))
sramcol_x32_sram_8t.add(gdstk.Label('WLA[19]', (2.106,0.134), layer=30, texttype=251))
sramcol_x32_sram_8t.add(gdstk.Label('WLB[19]', (2.1,0.012), layer=50, texttype=251))
sramcol_x32_sram_8t.add(gdstk.Label('WLA[20]', (2.214,0.134), layer=30, texttype=251))
sramcol_x32_sram_8t.add(gdstk.Label('WLB[20]', (2.22,0.012), layer=50, texttype=251))
sramcol_x32_sram_8t.add(gdstk.Label('WLA[21]', (2.322,0.134), layer=30, texttype=251))
sramcol_x32_sram_8t.add(gdstk.Label('WLB[21]', (2.316,0.012), layer=50, texttype=251))
sramcol_x32_sram_8t.add(gdstk.Label('WLA[22]', (2.43,0.134), layer=30, texttype=251))
sramcol_x32_sram_8t.add(gdstk.Label('WLB[22]', (2.436,0.012), layer=50, texttype=251))
sramcol_x32_sram_8t.add(gdstk.Label('WLA[23]', (2.538,0.134), layer=30, texttype=251))
sramcol_x32_sram_8t.add(gdstk.Label('WLB[23]', (2.532,0.012), layer=50, texttype=251))
sramcol_x32_sram_8t.add(gdstk.Label('WLA[24]', (2.646,0.134), layer=30, texttype=251))
sramcol_x32_sram_8t.add(gdstk.Label('WLB[24]', (2.652,0.012), layer=50, texttype=251))
sramcol_x32_sram_8t.add(gdstk.Label('WLA[25]', (2.754,0.134), layer=30, texttype=251))
sramcol_x32_sram_8t.add(gdstk.Label('WLB[25]', (2.748,0.012), layer=50, texttype=251))
sramcol_x32_sram_8t.add(gdstk.Label('WLA[26]', (2.862,0.134), layer=30, texttype=251))
sramcol_x32_sram_8t.add(gdstk.Label('WLB[26]', (2.868,0.012), layer=50, texttype=251))
sramcol_x32_sram_8t.add(gdstk.Label('WLA[27]', (2.97,0.134), layer=30, texttype=251))
sramcol_x32_sram_8t.add(gdstk.Label('WLB[27]', (2.964,0.012), layer=50, texttype=251))
sramcol_x32_sram_8t.add(gdstk.Label('WLA[28]', (3.078,0.134), layer=30, texttype=251))
sramcol_x32_sram_8t.add(gdstk.Label('WLB[28]', (3.084,0.012), layer=50, texttype=251))
sramcol_x32_sram_8t.add(gdstk.Label('WLA[29]', (3.186,0.134), layer=30, texttype=251))
sramcol_x32_sram_8t.add(gdstk.Label('WLB[29]', (3.18,0.012), layer=50, texttype=251))
sramcol_x32_sram_8t.add(gdstk.Label('WLA[30]', (3.294,0.134), layer=30, texttype=251))
sramcol_x32_sram_8t.add(gdstk.Label('WLB[30]', (3.3,0.012), layer=50, texttype=251))
sramcol_x32_sram_8t.add(gdstk.Label('WLA[31]', (3.402,0.134), layer=30, texttype=251))
sramcol_x32_sram_8t.add(gdstk.Label('WLB[31]', (3.396,0.012), layer=50, texttype=251))
sramcol_x32_sram_8t.add(gdstk.Label('BLA', (3.326,0.3505), layer=20, texttype=251))
sramcol_x32_sram_8t.add(gdstk.Label('BLAN', (3.474,0.25), layer=20, texttype=251))
sramcol_x32_sram_8t.add(gdstk.Label('BLB', (3.326,0.51), layer=40, texttype=251))
sramcol_x32_sram_8t.add(gdstk.Label('BLBN', (3.474,0.126), layer=40, texttype=251))
sramcol_x32_sram_8t.add(gdstk.Label('VDD', (3.3765,0.3015), layer=20, texttype=251))
sramcol_x32_sram_8t.add(gdstk.Label('VSS', (3.375,0.397), layer=20, texttype=251))

array_x32x4_sram_8t = lib.new_cell('array_x32x4_sram_8t')
R(array_x32x4_sram_8t, boundary, [(0,0,3.456,2.376)])
array_x32x4_sram_8t.add(gdstk.Reference(sramcol_x32_sram_8t, (0,0)))
array_x32x4_sram_8t.add(gdstk.Reference(sramcol_x32_sram_8t, (0,1.188), x_reflection=True))
array_x32x4_sram_8t.add(gdstk.Reference(sramcol_x32_sram_8t, (0,1.188)))
array_x32x4_sram_8t.add(gdstk.Reference(sramcol_x32_sram_8t, (0,2.376), x_reflection=True))
array_x32x4_sram_8t.add(gdstk.Label('WLA[0]', (0.054,0.134), layer=30, texttype=251))
array_x32x4_sram_8t.add(gdstk.Label('WLA[1]', (0.162,0.134), layer=30, texttype=251))
array_x32x4_sram_8t.add(gdstk.Label('WLA[2]', (0.27,0.134), layer=30, texttype=251))
array_x32x4_sram_8t.add(gdstk.Label('WLA[3]', (0.378,0.134), layer=30, texttype=251))
array_x32x4_sram_8t.add(gdstk.Label('WLA[4]', (0.486,0.134), layer=30, texttype=251))
array_x32x4_sram_8t.add(gdstk.Label('WLA[5]', (0.594,0.134), layer=30, texttype=251))
array_x32x4_sram_8t.add(gdstk.Label('WLA[6]', (0.702,0.134), layer=30, texttype=251))
array_x32x4_sram_8t.add(gdstk.Label('WLA[7]', (0.81,0.134), layer=30, texttype=251))
array_x32x4_sram_8t.add(gdstk.Label('WLA[8]', (0.918,0.134), layer=30, texttype=251))
array_x32x4_sram_8t.add(gdstk.Label('WLA[9]', (1.026,0.134), layer=30, texttype=251))
array_x32x4_sram_8t.add(gdstk.Label('WLA[10]', (1.134,0.134), layer=30, texttype=251))
array_x32x4_sram_8t.add(gdstk.Label('WLA[11]', (1.242,0.134), layer=30, texttype=251))
array_x32x4_sram_8t.add(gdstk.Label('WLA[12]', (1.35,0.134), layer=30, texttype=251))
array_x32x4_sram_8t.add(gdstk.Label('WLA[13]', (1.458,0.134), layer=30, texttype=251))
array_x32x4_sram_8t.add(gdstk.Label('WLA[14]', (1.566,0.134), layer=30, texttype=251))
array_x32x4_sram_8t.add(gdstk.Label('WLA[15]', (1.674,0.134), layer=30, texttype=251))
array_x32x4_sram_8t.add(gdstk.Label('WLA[16]', (1.782,0.134), layer=30, texttype=251))
array_x32x4_sram_8t.add(gdstk.Label('WLA[17]', (1.89,0.134), layer=30, texttype=251))
array_x32x4_sram_8t.add(gdstk.Label('WLA[18]', (1.998,0.134), layer=30, texttype=251))
array_x32x4_sram_8t.add(gdstk.Label('WLA[19]', (2.106,0.134), layer=30, texttype=251))
array_x32x4_sram_8t.add(gdstk.Label('WLA[20]', (2.214,0.134), layer=30, texttype=251))
array_x32x4_sram_8t.add(gdstk.Label('WLA[21]', (2.322,0.134), layer=30, texttype=251))
array_x32x4_sram_8t.add(gdstk.Label('WLA[22]', (2.43,0.134), layer=30, texttype=251))
array_x32x4_sram_8t.add(gdstk.Label('WLA[23]', (2.538,0.134), layer=30, texttype=251))
array_x32x4_sram_8t.add(gdstk.Label('WLA[24]', (2.646,0.134), layer=30, texttype=251))
array_x32x4_sram_8t.add(gdstk.Label('WLA[25]', (2.754,0.134), layer=30, texttype=251))
array_x32x4_sram_8t.add(gdstk.Label('WLA[26]', (2.862,0.134), layer=30, texttype=251))
array_x32x4_sram_8t.add(gdstk.Label('WLA[27]', (2.97,0.134), layer=30, texttype=251))
array_x32x4_sram_8t.add(gdstk.Label('WLA[28]', (3.078,0.134), layer=30, texttype=251))
array_x32x4_sram_8t.add(gdstk.Label('WLA[29]', (3.186,0.134), layer=30, texttype=251))
array_x32x4_sram_8t.add(gdstk.Label('WLA[30]', (3.294,0.134), layer=30, texttype=251))
array_x32x4_sram_8t.add(gdstk.Label('WLA[31]', (3.402,0.134), layer=30, texttype=251))
array_x32x4_sram_8t.add(gdstk.Label('WLB[0]', (0.06,0.012), layer=50, texttype=251))
array_x32x4_sram_8t.add(gdstk.Label('WLB[1]', (0.156,0.012), layer=50, texttype=251))
array_x32x4_sram_8t.add(gdstk.Label('WLB[2]', (0.276,0.012), layer=50, texttype=251))
array_x32x4_sram_8t.add(gdstk.Label('WLB[3]', (0.372,0.012), layer=50, texttype=251))
array_x32x4_sram_8t.add(gdstk.Label('WLB[4]', (0.492,0.012), layer=50, texttype=251))
array_x32x4_sram_8t.add(gdstk.Label('WLB[5]', (0.588,0.012), layer=50, texttype=251))
array_x32x4_sram_8t.add(gdstk.Label('WLB[6]', (0.708,0.012), layer=50, texttype=251))
array_x32x4_sram_8t.add(gdstk.Label('WLB[7]', (0.804,0.012), layer=50, texttype=251))
array_x32x4_sram_8t.add(gdstk.Label('WLB[8]', (0.924,0.012), layer=50, texttype=251))
array_x32x4_sram_8t.add(gdstk.Label('WLB[9]', (1.02,0.012), layer=50, texttype=251))
array_x32x4_sram_8t.add(gdstk.Label('WLB[10]', (1.14,0.012), layer=50, texttype=251))
array_x32x4_sram_8t.add(gdstk.Label('WLB[11]', (1.236,0.012), layer=50, texttype=251))
array_x32x4_sram_8t.add(gdstk.Label('WLB[12]', (1.356,0.012), layer=50, texttype=251))
array_x32x4_sram_8t.add(gdstk.Label('WLB[13]', (1.452,0.012), layer=50, texttype=251))
array_x32x4_sram_8t.add(gdstk.Label('WLB[14]', (1.572,0.012), layer=50, texttype=251))
array_x32x4_sram_8t.add(gdstk.Label('WLB[15]', (1.668,0.012), layer=50, texttype=251))
array_x32x4_sram_8t.add(gdstk.Label('WLB[16]', (1.788,0.012), layer=50, texttype=251))
array_x32x4_sram_8t.add(gdstk.Label('WLB[17]', (1.884,0.012), layer=50, texttype=251))
array_x32x4_sram_8t.add(gdstk.Label('WLB[18]', (2.004,0.012), layer=50, texttype=251))
array_x32x4_sram_8t.add(gdstk.Label('WLB[19]', (2.1,0.012), layer=50, texttype=251))
array_x32x4_sram_8t.add(gdstk.Label('WLB[20]', (2.22,0.012), layer=50, texttype=251))
array_x32x4_sram_8t.add(gdstk.Label('WLB[21]', (2.316,0.012), layer=50, texttype=251))
array_x32x4_sram_8t.add(gdstk.Label('WLB[22]', (2.436,0.012), layer=50, texttype=251))
array_x32x4_sram_8t.add(gdstk.Label('WLB[23]', (2.532,0.012), layer=50, texttype=251))
array_x32x4_sram_8t.add(gdstk.Label('WLB[24]', (2.652,0.012), layer=50, texttype=251))
array_x32x4_sram_8t.add(gdstk.Label('WLB[25]', (2.748,0.012), layer=50, texttype=251))
array_x32x4_sram_8t.add(gdstk.Label('WLB[26]', (2.868,0.012), layer=50, texttype=251))
array_x32x4_sram_8t.add(gdstk.Label('WLB[27]', (2.964,0.012), layer=50, texttype=251))
array_x32x4_sram_8t.add(gdstk.Label('WLB[28]', (3.084,0.012), layer=50, texttype=251))
array_x32x4_sram_8t.add(gdstk.Label('WLB[29]', (3.18,0.012), layer=50, texttype=251))
array_x32x4_sram_8t.add(gdstk.Label('WLB[30]', (3.3,0.012), layer=50, texttype=251))
array_x32x4_sram_8t.add(gdstk.Label('WLB[31]', (3.396,0.012), layer=50, texttype=251))
array_x32x4_sram_8t.add(gdstk.Label('BLA[0]', (3.326,0.3505), layer=20, texttype=251))
array_x32x4_sram_8t.add(gdstk.Label('BLAN[0]', (3.474,0.25), layer=20, texttype=251))
array_x32x4_sram_8t.add(gdstk.Label('BLB[0]', (3.326,0.51), layer=40, texttype=251))
array_x32x4_sram_8t.add(gdstk.Label('BLBN[0]', (3.474,0.126), layer=40, texttype=251))
array_x32x4_sram_8t.add(gdstk.Label('BLA[1]', (3.326,0.8375), layer=20, texttype=251))
array_x32x4_sram_8t.add(gdstk.Label('BLAN[1]', (3.474,0.938), layer=20, texttype=251))
array_x32x4_sram_8t.add(gdstk.Label('BLB[1]', (3.326,0.678), layer=40, texttype=251))
array_x32x4_sram_8t.add(gdstk.Label('BLBN[1]', (3.474,1.062), layer=40, texttype=251))
array_x32x4_sram_8t.add(gdstk.Label('BLA[2]', (3.326,1.5385), layer=20, texttype=251))
array_x32x4_sram_8t.add(gdstk.Label('BLAN[2]', (3.474,1.438), layer=20, texttype=251))
array_x32x4_sram_8t.add(gdstk.Label('BLB[2]', (3.326,1.698), layer=40, texttype=251))
array_x32x4_sram_8t.add(gdstk.Label('BLBN[2]', (3.474,1.314), layer=40, texttype=251))
array_x32x4_sram_8t.add(gdstk.Label('BLA[3]', (3.326,2.0255), layer=20, texttype=251))
array_x32x4_sram_8t.add(gdstk.Label('BLAN[3]', (3.474,2.126), layer=20, texttype=251))
array_x32x4_sram_8t.add(gdstk.Label('BLB[3]', (3.326,1.866), layer=40, texttype=251))
array_x32x4_sram_8t.add(gdstk.Label('BLBN[3]', (3.474,2.25), layer=40, texttype=251))
array_x32x4_sram_8t.add(gdstk.Label('VDD', (3.3765,0.3015), layer=20, texttype=251))
array_x32x4_sram_8t.add(gdstk.Label('VDD', (3.3765,0.8865), layer=20, texttype=251))
array_x32x4_sram_8t.add(gdstk.Label('VDD', (3.3765,1.4895), layer=20, texttype=251))
array_x32x4_sram_8t.add(gdstk.Label('VDD', (3.3765,2.0745), layer=20, texttype=251))
array_x32x4_sram_8t.add(gdstk.Label('VSS', (3.375,0.397), layer=20, texttype=251))
array_x32x4_sram_8t.add(gdstk.Label('VSS', (3.375,0.791), layer=20, texttype=251))
array_x32x4_sram_8t.add(gdstk.Label('VSS', (3.375,1.585), layer=20, texttype=251))
array_x32x4_sram_8t.add(gdstk.Label('VSS', (3.375,1.979), layer=20, texttype=251))

lib.write_gds('array_x32x4_sram_8t.gds')
